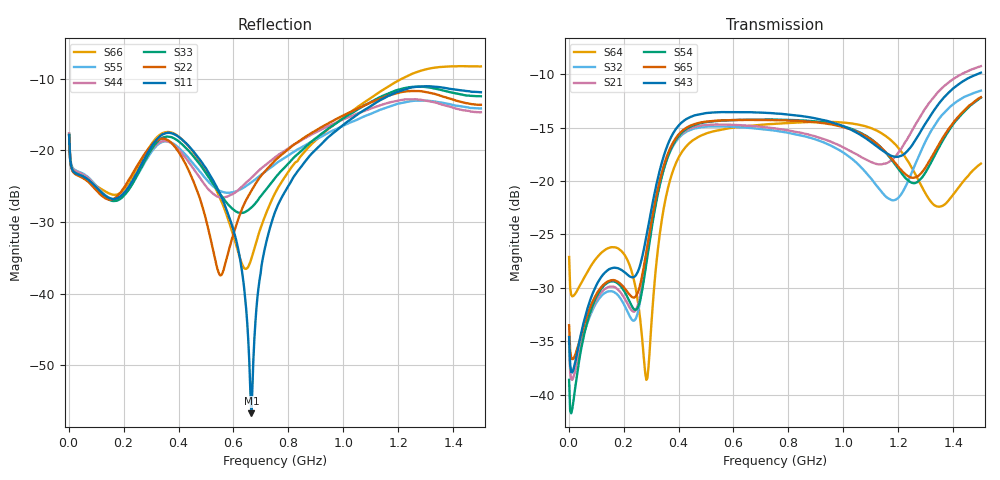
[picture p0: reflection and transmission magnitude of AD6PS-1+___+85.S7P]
! Mini-Circuits
! S7P DATA File Format
! Type: 6 Way 0 degree Power Splitter
! Model: AD6PS-1+
! PINOUT: SUMPORT=PORT7 , OUT1 PORT=PORT1 , OUT2 PORT=PORT2 , OUT3 PORT=PORT3 , OUT4 PORT=PORT4 , OUT5 PORT=PORT5 , OUT6 PORT=PORT6
! TEST CONDITIONS: INPUT POWER = 0 dBm @ Temperature = + 85 deg C
! 401 Frequency points
! All S Parameters are in dB deg format
# MHz S DB R 50
! FREQ  MAG(S11)PHS(S11)MAG(S12)PHS(S12)MAG(S13)PHS(S13)MAG(S14)PHS(S14)MAG(S15)PHS(S15)MAG(S16)PHS(S16)MAG(S17)PHS(S17)
!	MAG(S21)PHS(S21)MAG(S22)PHS(S22)MAG(S23)PHS(S23)MAG(S24)PHS(S24)MAG(S25)PHS(S25)MAG(S26)PHS(S26)MAG(S27)PHS(S27)
!	MAG(S31)PHS(S31)MAG(S32)PHS(S32)MAG(S33)PHS(S33)MAG(S34)PHS(S34)MAG(S35)PHS(S35)MAG(S36)PHS(S36)MAG(S37)PHS(S37)
!	MAG(S41)PHS(S41)MAG(S42)PHS(S42)MAG(S43)PHS(S43)MAG(S44)PHS(S44)MAG(S45)PHS(S45)MAG(S46)PHS(S46)MAG(S47)PHS(S47)
!	MAG(S51)PHS(S51)MAG(S52)PHS(S52)MAG(S53)PHS(S53)MAG(S54)PHS(S54)MAG(S55)PHS(S55)MAG(S56)PHS(S56)MAG(S57)PHS(S57)
!	MAG(S61)PHS(S61)MAG(S62)PHS(S62)MAG(S63)PHS(S63)MAG(S64)PHS(S64)MAG(S65)PHS(S65)MAG(S66)PHS(S66)MAG(S67)PHS(S67)
!	MAG(S71)PHS(S71)MAG(S72)PHS(S72)MAG(S73)PHS(S73)MAG(S74)PHS(S74)MAG(S75)PHS(S75)MAG(S76)PHS(S76)MAG(S77)PHS(S77)
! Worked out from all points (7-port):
!   401 points, 2 MHz to 1.5 GHz, reference 50 ohm
!   strongest paths, dB at 2 MHz, 376.5 MHz, 751 MHz, 1.125 GHz, 1.5 GHz:
!     S43: -34.6, -15.7, -13.7, -16.8, -9.9
!     S65: -33.5, -16.6, -14.3, -16.6, -12.2
!     S54: -38.6, -16.8, -14.2, -16.6, -12.2
!     S21: -35.0, -16.8, -15.1, -18.4, -9.3
!     S32: -35.2, -16.9, -15.3, -20.6, -11.5
!     S64: -27.1, -19.3, -14.7, -15.3, -18.4
!   lowest |S11| = -56.7 dB at 664.9 MHz (marker M1), VSWR 1.00, Z = 50.1 + j0.12 ohm
!   |S11| at or under -10 dB: start of sweep to end of sweep
